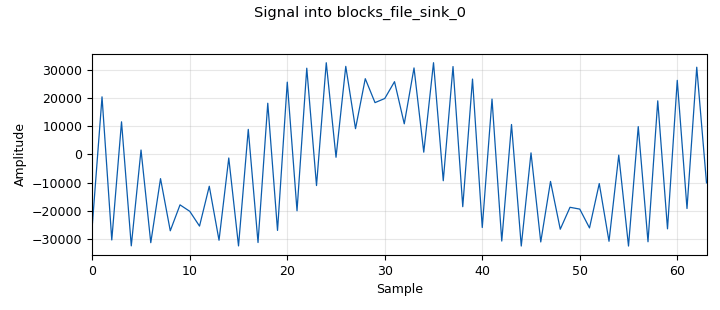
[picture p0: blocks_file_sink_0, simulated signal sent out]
options:
  parameters:
    generate_options: no_gui
    id: two_tone
    output_language: python
    title: Not titled yet
  states: {}

blocks:
- name: samp_rate
  id: variable
  parameters:
    value: '2000000'
  states: {}
- name: analog_sig_source_x_0
  id: analog_sig_source_x
  parameters:
    amp: 0.99 / 2
    freq: '100000'
    offset: '0'
    phase: '0'
    samp_rate: samp_rate
    type: complex
    waveform: analog.GR_COS_WAVE
  states: {}
- name: analog_sig_source_x_0_0
  id: analog_sig_source_x
  parameters:
    amp: 0.99 / 2
    freq: '101000'
    offset: '0'
    phase: '0'
    samp_rate: samp_rate
    type: complex
    waveform: analog.GR_COS_WAVE
  states: {}
- name: blocks_add_xx_0
  id: blocks_add_xx
  parameters:
    type: complex
  states: {}
- name: blocks_complex_to_interleaved_short_0
  id: blocks_complex_to_interleaved_short
  parameters:
    scale_factor: '32768.0'
    vector_output: 'False'
  states: {}
- name: blocks_file_sink_0
  id: blocks_file_sink
  parameters:
    file: test.cs16
    type: short
  states: {}

connections:
- [analog_sig_source_x_0, '0', blocks_add_xx_0, '0']
- [analog_sig_source_x_0_0, '0', blocks_add_xx_0, '1']
- [blocks_add_xx_0, '0', blocks_complex_to_interleaved_short_0, '0']
- [blocks_complex_to_interleaved_short_0, '0', blocks_file_sink_0, '0']

metadata:
  file_format: 1
  grc_version: 3.10.11.0
